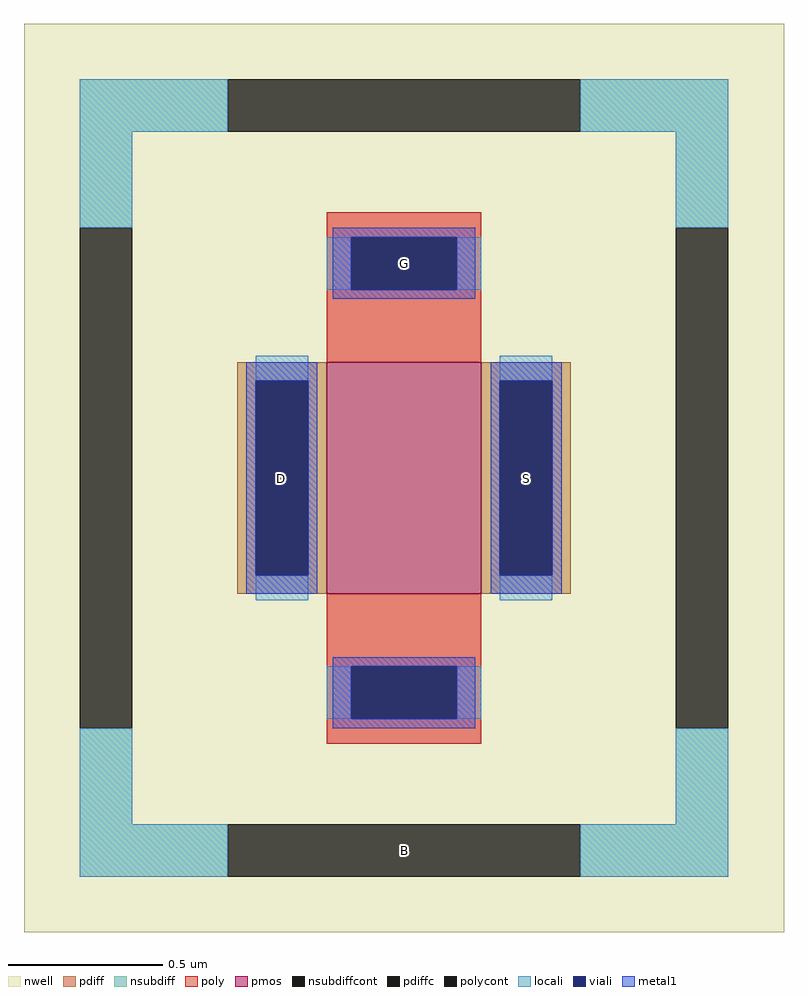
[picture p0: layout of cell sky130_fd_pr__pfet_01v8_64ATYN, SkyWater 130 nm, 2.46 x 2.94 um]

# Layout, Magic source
magic
tech sky130A
magscale 1 2
<< nwell >>
rect -246 -294 246 294
<< pmos >>
rect -50 -75 50 75
<< pdiff >>
rect -108 63 -50 75
rect -108 -63 -96 63
rect -62 -63 -50 63
rect -108 -75 -50 -63
rect 50 63 108 75
rect 50 -63 62 63
rect 96 -63 108 63
rect 50 -75 108 -63
<< pdiffc >>
rect -96 -63 -62 63
rect 62 -63 96 63
<< nsubdiff >>
rect -210 224 -114 258
rect 114 224 210 258
rect -210 162 -176 224
rect 176 162 210 224
rect -210 -224 -176 -162
rect 176 -224 210 -162
rect -210 -258 -114 -224
rect 114 -258 210 -224
<< nsubdiffcont >>
rect -114 224 114 258
rect -210 -162 -176 162
rect 176 -162 210 162
rect -114 -258 114 -224
<< poly >>
rect -50 156 50 172
rect -50 122 -34 156
rect 34 122 50 156
rect -50 75 50 122
rect -50 -122 50 -75
rect -50 -156 -34 -122
rect 34 -156 50 -122
rect -50 -172 50 -156
<< polycont >>
rect -34 122 34 156
rect -34 -156 34 -122
<< locali >>
rect -210 224 -114 258
rect 114 224 210 258
rect -210 162 -176 224
rect 176 162 210 224
rect -50 122 -34 156
rect 34 122 50 156
rect -96 63 -62 79
rect -96 -79 -62 -63
rect 62 63 96 79
rect 62 -79 96 -63
rect -50 -156 -34 -122
rect 34 -156 50 -122
rect -210 -224 -176 -162
rect 176 -224 210 -162
rect -210 -258 -114 -224
rect 114 -258 210 -224
<< viali >>
rect -34 122 34 156
rect -96 -63 -62 63
rect 62 -63 96 63
rect -34 -156 34 -122
<< metal1 >>
rect -46 156 46 162
rect -46 122 -34 156
rect 34 122 46 156
rect -46 116 46 122
rect -102 63 -56 75
rect -102 -63 -96 63
rect -62 -63 -56 63
rect -102 -75 -56 -63
rect 56 63 102 75
rect 56 -63 62 63
rect 96 -63 102 63
rect 56 -75 102 -63
rect -46 -122 46 -116
rect -46 -156 -34 -122
rect 34 -156 46 -122
rect -46 -162 46 -156
<< labels >>
rlabel nsubdiffcont 0 -241 0 -241 0 B
port 5 nsew
rlabel pdiffc -79 0 -79 0 0 D
port 6 nsew
rlabel pdiffc 79 0 79 0 0 S
port 7 nsew
rlabel polycont 0 139 0 139 0 G
port 8 nsew
<< properties >>
string FIXED_BBOX -193 -241 193 241
string gencell sky130_fd_pr__pfet_01v8
string library sky130
string parameters w 0.75 l 0.5 m 1 nf 1 diffcov 100 polycov 100 guard 1 glc 1 grc 1 gtc 1 gbc 1 tbcov 100 rlcov 100 topc 1 botc 1 poverlap 0 doverlap 1 lmin 0.15 wmin 0.42 class mosfet compatible {sky130_fd_pr__pfet_01v8  sky130_fd_pr__pfet_01v8_lvt sky130_fd_pr__pfet_01v8_hvt  sky130_fd_pr__pfet_g5v0d10v5} full_metal 1 conn_gates 0 viasrc 100 viadrn 100 viagate 100 viagb 0 viagr 0 viagl 0 viagt 0 doports 1
<< end >>
